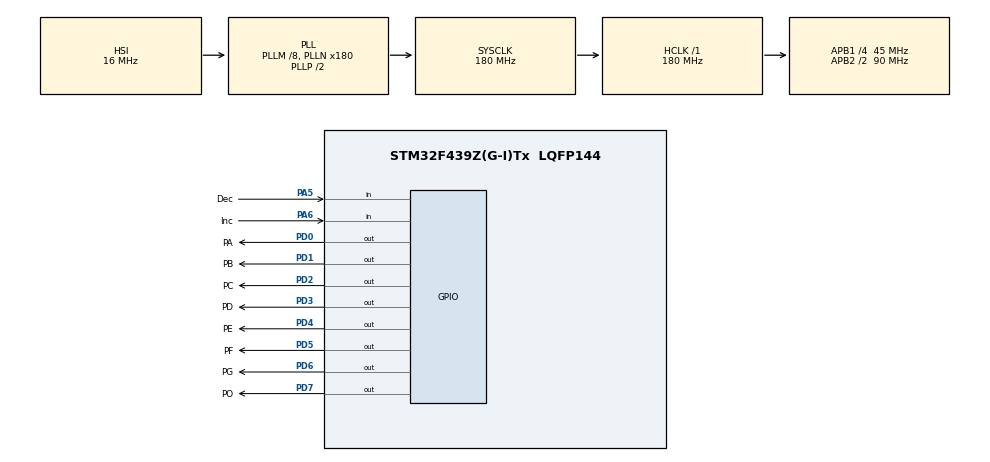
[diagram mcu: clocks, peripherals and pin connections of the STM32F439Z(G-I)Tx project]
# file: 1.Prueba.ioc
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Mcu.Family=STM32F4
Mcu.Name=STM32F439Z(G-I)Tx
Mcu.Package=LQFP144
NVIC.PriorityGroup=NVIC_PRIORITYGROUP_4
PA5.GPIO_Label=Dec
PA5.GPIO_PuPd=GPIO_PULLDOWN
PA5.Signal=GPIO_Input
PA6.GPIO_Label=Inc
PA6.GPIO_PuPd=GPIO_PULLDOWN
PA6.Signal=GPIO_Input
PD0.GPIO_Label=PA
PD0.Signal=GPIO_Output
PD1.GPIO_Label=PB
PD1.Signal=GPIO_Output
PD2.GPIO_Label=PC
PD2.Signal=GPIO_Output
PD3.GPIO_Label=PD
PD3.Signal=GPIO_Output
PD4.GPIO_Label=PE
PD4.Signal=GPIO_Output
PD5.GPIO_Label=PF
PD5.Signal=GPIO_Output
PD6.GPIO_Label=PG
PD6.Signal=GPIO_Output
PD7.GPIO_Label=PO
PD7.Signal=GPIO_Output
PH0/OSC_IN.Mode=HSE-External-Oscillator
PH0/OSC_IN.Signal=RCC_OSC_IN
PH1/OSC_OUT.Mode=HSE-External-Oscillator
PH1/OSC_OUT.Signal=RCC_OSC_OUT
ProjectManager.HeapSize=0x200
ProjectManager.StackSize=0x400
ProjectManager.TargetToolchain=STM32CubeIDE
RCC.48MHZClocksFreq_Value=90000000
RCC.AHBFreq_Value=180000000
RCC.APB1CLKDivider=RCC_HCLK_DIV4
RCC.APB1Freq_Value=45000000
RCC.APB1TimFreq_Value=90000000
RCC.APB2CLKDivider=RCC_HCLK_DIV2
RCC.APB2Freq_Value=90000000
RCC.APB2TimFreq_Value=180000000
RCC.CortexFreq_Value=180000000
RCC.HCLKFreq_Value=180000000
RCC.HSE_VALUE=8000000
RCC.HSI_VALUE=16000000
RCC.LSE_VALUE=32768
RCC.PLLM=8
RCC.PLLMUL=RCC_PLL_MUL9
RCC.PLLN=180
RCC.PRESCALERUSB=RCC_USBCLKSOURCE_PLL_DIV1_5
RCC.SYSCLKFreq_VALUE=180000000
RCC.SYSCLKSource=RCC_SYSCLKSOURCE_PLLCLK
RCC.SYSCLKSourceVirtual=RCC_SYSCLKSOURCE_PLLCLK
RCC.USBFreq_Value=48000000
RCC.VCOOutputFreq_Value=360000000
board=NUCLEO-F439ZI

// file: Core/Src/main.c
/* USER CODE BEGIN Header */
/**
  ******************************************************************************
  * @file           : main.c
  * @brief          : Main program body
  ******************************************************************************
  * @attention
  *
  * Copyright (c) 2025 STMicroelectronics.
  * All rights reserved.
  *
  * This software is licensed under terms that can be found in the LICENSE file
  * in the root directory of this software component.
  * If no LICENSE file comes with this software, it is provided AS-IS.
  *
  ******************************************************************************
  */
/* USER CODE END Header */
#include "main.h"

/* USER CODE BEGIN PV */
uint8_t contador = 0;
uint8_t display[10] = {0x3F,0x06,0x5B,0x4F,0x66,0x6D,0x7D,0x07,0x7F,0x6F};
/* USER CODE END PV */

void SystemClock_Config(void);
static void MX_GPIO_Init(void);

int main(void)
{

  /* MCU Configuration--------------------------------------------------------*/

  /* Reset of all peripherals, Initializes the Flash interface and the Systick. */
  HAL_Init();

  /* Configure the system clock */
  SystemClock_Config();

  /* USER CODE BEGIN SysInit */
  void Display_Port(uint8_t data);
  /* USER CODE END SysInit */

  /* Initialize all configured peripherals */
  MX_GPIO_Init();

  /* Infinite loop */
  /* USER CODE BEGIN WHILE */
  while (1)
  {
	  Display_Port(display[contador]);
	  		if (HAL_GPIO_ReadPin(Inc_GPIO_Port, Inc_Pin) == 1) {
	  			HAL_Delay(5);
	  			while(HAL_GPIO_ReadPin(Inc_GPIO_Port, Inc_Pin) == 1);
	  			HAL_Delay(5);
	  			contador++;
	  				if (contador > 9 ) contador = 9;
	  		}

	  		if (HAL_GPIO_ReadPin(Dec_GPIO_Port, Dec_Pin) == 1) {
	  			HAL_Delay(5);
	  			while(HAL_GPIO_ReadPin(Dec_GPIO_Port, Dec_Pin) == 1);
	  			HAL_Delay(5);
	  				if(contador>0){
	  					contador--;
	  				}else {
	  					contador = 0;
	  				}
	  		}
    /* USER CODE END WHILE */

  }
}
void Display_Port(uint8_t data)
{
	HAL_GPIO_WritePin(PA_GPIO_Port, PA_Pin, (((data & 0x01) >> 0) & 0x01));
	HAL_GPIO_WritePin(PB_GPIO_Port, PB_Pin, (((data & 0x02) >> 1) & 0x01));
	HAL_GPIO_WritePin(PC_GPIO_Port, PC_Pin, (((data & 0x04) >> 2) & 0x01));
	HAL_GPIO_WritePin(PD_GPIO_Port, PD_Pin, (((data & 0x08) >> 3) & 0x01));
	HAL_GPIO_WritePin(PE_GPIO_Port, PE_Pin, (((data & 0x10) >> 4) & 0x01));
	HAL_GPIO_WritePin(PF_GPIO_Port, PF_Pin, (((data & 0x20) >> 5) & 0x01));
	HAL_GPIO_WritePin(PG_GPIO_Port, PG_Pin, (((data & 0x40) >> 6) & 0x01));
}

void SystemClock_Config(void)
{
  RCC_OscInitTypeDef RCC_OscInitStruct = {0};
  RCC_ClkInitTypeDef RCC_ClkInitStruct = {0};

  /** Configure the main internal regulator output voltage
  */
  __HAL_RCC_PWR_CLK_ENABLE();
  __HAL_PWR_VOLTAGESCALING_CONFIG(PWR_REGULATOR_VOLTAGE_SCALE1);

  /** Initializes the RCC Oscillators according to the specified parameters
  * in the RCC_OscInitTypeDef structure.
  */
  RCC_OscInitStruct.OscillatorType = RCC_OSCILLATORTYPE_HSI;
  RCC_OscInitStruct.HSIState = RCC_HSI_ON;
  RCC_OscInitStruct.HSICalibrationValue = RCC_HSICALIBRATION_DEFAULT;
  RCC_OscInitStruct.PLL.PLLState = RCC_PLL_ON;
  RCC_OscInitStruct.PLL.PLLSource = RCC_PLLSOURCE_HSI;
  RCC_OscInitStruct.PLL.PLLM = 8;
  RCC_OscInitStruct.PLL.PLLN = 180;
  RCC_OscInitStruct.PLL.PLLP = RCC_PLLP_DIV2;
  RCC_OscInitStruct.PLL.PLLQ = 4;
  if (HAL_RCC_OscConfig(&RCC_OscInitStruct) != HAL_OK)
  {
    Error_Handler();
  }

  /** Activate the Over-Drive mode
  */
  if (HAL_PWREx_EnableOverDrive() != HAL_OK)
  {
    Error_Handler();
  }

  /** Initializes the CPU, AHB and APB buses clocks
  */
  RCC_ClkInitStruct.ClockType = RCC_CLOCKTYPE_HCLK|RCC_CLOCKTYPE_SYSCLK
                              |RCC_CLOCKTYPE_PCLK1|RCC_CLOCKTYPE_PCLK2;
  RCC_ClkInitStruct.SYSCLKSource = RCC_SYSCLKSOURCE_PLLCLK;
  RCC_ClkInitStruct.AHBCLKDivider = RCC_SYSCLK_DIV1;
  RCC_ClkInitStruct.APB1CLKDivider = RCC_HCLK_DIV4;
  RCC_ClkInitStruct.APB2CLKDivider = RCC_HCLK_DIV2;

  if (HAL_RCC_ClockConfig(&RCC_ClkInitStruct, FLASH_LATENCY_5) != HAL_OK)
  {
    Error_Handler();
  }
}

static void MX_GPIO_Init(void)
{
  GPIO_InitTypeDef GPIO_InitStruct = {0};

  /* GPIO Ports Clock Enable */
  __HAL_RCC_GPIOH_CLK_ENABLE();
  __HAL_RCC_GPIOA_CLK_ENABLE();
  __HAL_RCC_GPIOD_CLK_ENABLE();

  /*Configure GPIO pin Output Level */
  HAL_GPIO_WritePin(GPIOD, PA_Pin|PB_Pin|PC_Pin|PD_Pin
                          |PE_Pin|PF_Pin|PG_Pin|PO_Pin, GPIO_PIN_RESET);

  /*Configure GPIO pins : Dec_Pin Inc_Pin */
  GPIO_InitStruct.Pin = Dec_Pin|Inc_Pin;
  GPIO_InitStruct.Mode = GPIO_MODE_INPUT;
  GPIO_InitStruct.Pull = GPIO_PULLDOWN;
  HAL_GPIO_Init(GPIOA, &GPIO_InitStruct);

  /*Configure GPIO pins : PA_Pin PB_Pin PC_Pin PD_Pin
                           PE_Pin PF_Pin PG_Pin PO_Pin */
  GPIO_InitStruct.Pin = PA_Pin|PB_Pin|PC_Pin|PD_Pin
                          |PE_Pin|PF_Pin|PG_Pin|PO_Pin;
  GPIO_InitStruct.Mode = GPIO_MODE_OUTPUT_PP;
  GPIO_InitStruct.Pull = GPIO_NOPULL;
  GPIO_InitStruct.Speed = GPIO_SPEED_FREQ_LOW;
  HAL_GPIO_Init(GPIOD, &GPIO_InitStruct);

}

void Error_Handler(void)
{
  __disable_irq();
  while (1)
  {
  }
}
